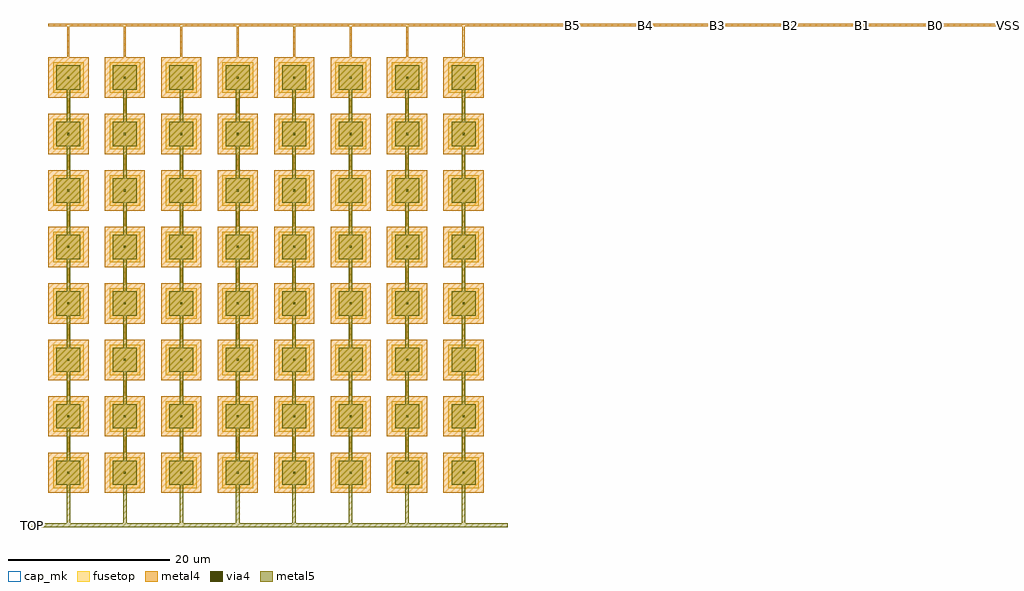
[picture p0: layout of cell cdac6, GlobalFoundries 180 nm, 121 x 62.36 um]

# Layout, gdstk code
import gdstk
lib = gdstk.Library(unit=1e-6, precision=1e-09)
def R(c, l, rs):  # rectangles x0, y0, x1, y1
    for r in rs: c.add(gdstk.rectangle(r[:2], r[2:], *l))
def A(c, l, x, y, w, h, nx, ny, dx, dy):  # array of equal rectangles
    R(c, l, [(x+i*dx, y+j*dy, x+i*dx+w, y+j*dy+h) for i in range(nx) for j in range(ny)])
via4 = (41, 0)
metal4 = (46, 0)
fusetop = (75, 0)
metal5 = (81, 0)
cap_mk = (117, 5)

cdac6 = lib.new_cell('cdac6')
A(cdac6, via4, 3.37, 3.37, 0.26, 0.26, 8, 8, 7, 7)
A(cdac6, metal4, 1, 1, 5, 5, 8, 8, 7, 7)
A(cdac6, metal4, 3.36, 1, 0.28, 58.14, 8, 1, 7, 0)
A(cdac6, metal4, 3.36, 8, 0.28, 51.14, 8, 1, 7, 0)
A(cdac6, metal4, 3.36, 15, 0.28, 44.14, 8, 1, 7, 0)
A(cdac6, metal4, 3.36, 22, 0.28, 37.14, 8, 1, 7, 0)
A(cdac6, metal4, 3.36, 29, 0.28, 30.14, 8, 1, 7, 0)
A(cdac6, metal4, 3.36, 36, 0.28, 23.14, 8, 1, 7, 0)
A(cdac6, metal4, 3.36, 43, 0.28, 16.14, 8, 1, 7, 0)
A(cdac6, metal4, 3.36, 50, 0.28, 9.14, 8, 1, 7, 0)
R(cdac6, metal4, [(1,58.86,55,59.14), (1,58.86,55,59.14), (1,58.86,55,59.14), (1,58.86,27,59.14), (27,58.86,92,59.14), (29,58.86,41,59.14), (41,58.86,101,59.14), (43,58.86,48,59.14), (48,58.86,110,59.14), (50,58.86,55,59.14), (55,58.86,65,59.14), (55,58.86,74,59.14), (55,58.86,83,59.14), (55,58.86,119,59.14)])
A(cdac6, fusetop, 1.6, 1.6, 3.8, 3.8, 8, 8, 7, 7)
A(cdac6, metal5, 3.28, -3.22, 0.44, 29.22, 8, 1, 7, 0)
A(cdac6, metal5, 3.28, -3.22, 0.44, 36.22, 8, 1, 7, 0)
A(cdac6, metal5, 3.28, -3.22, 0.44, 43.22, 8, 1, 7, 0)
A(cdac6, metal5, 3.28, -3.22, 0.44, 50.22, 8, 1, 7, 0)
A(cdac6, metal5, 3.28, -3.22, 0.44, 57.22, 8, 1, 7, 0)
A(cdac6, metal5, 3.28, -3.22, 0.44, 15.22, 8, 1, 7, 0)
A(cdac6, metal5, 3.28, -3.22, 0.44, 22.22, 8, 1, 7, 0)
A(cdac6, metal5, 3.28, -3.22, 0.44, 8.22, 8, 1, 7, 0)
A(cdac6, metal5, 2, 2, 3, 3, 8, 8, 7, 7)
R(cdac6, metal5, [(-2,-3.22,58,-2.78)])
A(cdac6, cap_mk, 2, 2, 3, 3, 8, 8, 7, 7)
cdac6.add(gdstk.Label('TOP', (-1,-3), layer=81, texttype=10))
cdac6.add(gdstk.Label('B5', (66,59), layer=46, texttype=10))
cdac6.add(gdstk.Label('B4', (75,59), layer=46, texttype=10))
cdac6.add(gdstk.Label('B3', (84,59), layer=46, texttype=10))
cdac6.add(gdstk.Label('B2', (93,59), layer=46, texttype=10))
cdac6.add(gdstk.Label('B1', (102,59), layer=46, texttype=10))
cdac6.add(gdstk.Label('B0', (111,59), layer=46, texttype=10))
cdac6.add(gdstk.Label('VSS', (120,59), layer=46, texttype=10))

lib.write_gds('cdac6.gds')
